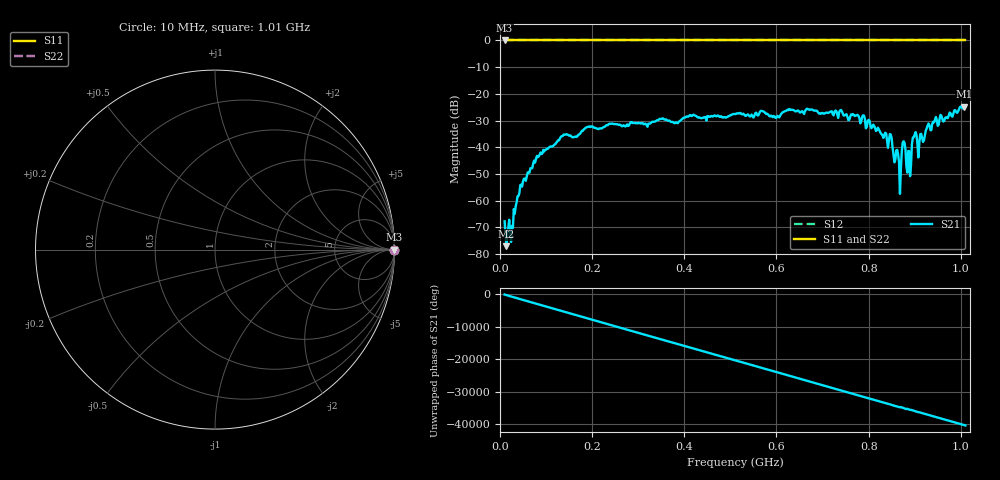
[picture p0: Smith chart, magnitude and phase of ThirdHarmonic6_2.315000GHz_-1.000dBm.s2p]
! 8/17/2025 3:14:41 AM
! C:\ANRITSUVNA\TEMP\TEMP.S2P
! CHANNEL.1
! TR.MEASUREMENT
! RAW.DATA
! RF.CORRECTION.OFF
! AVERAGING.OFF
! IF.BANDWIDTH: 5KHZ
! SWEEPTYPE:  FREQ.SWEEP(Linear)
! Reference Plane Port Info
! PORT:  PORT1  PORT2
! DISTANCE:  0  m  0  m
! TIME:  0  s  0  s
! PHASE.OFFSET:  0  deg.  0  deg.
! LOSS:  0  dB  0  dB
! REF.LOSS:  0  dB  0  dB
! REF.FREQ:  0  Hz  0  Hz
! Power Info
! POWER:  -20  dBm  -20  dBm
! EFF.POWER:  -20  dBm  -20  dBm
! SOURCE.ATTEN:  0  dB  0  dB
! TEST.ATTEN:  0  dB  0  dB
# GHZ S RI R 50.0
! FREQ.GHZ  S11RE  S11IM  S21RE  S21IM  S12RE  S12IM  S22RE  S22IM
!; PortSelection: Port_12
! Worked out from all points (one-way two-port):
!   501 points, 10 MHz to 1.01 GHz, reference 50 ohm
!   highest |S21| = -24.73 dB at 1.008 GHz (marker M1); lowest = -77.0 dB at 14 MHz (marker M2)
!   lowest |S11| = 0.0 dB at 10 MHz (marker M3)
!   |S11| at or under -10 dB: nowhere
!   |S22| runs from 0.0 to 0.0 dB; largest |S21 - S12| = 1.1
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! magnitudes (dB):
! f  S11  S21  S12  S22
! 10 MHz  0.0  -67.7  0.0  0.0
! 14 MHz  0.0  -77.0  0.0  0.0
! 26 MHz  0.0  -69.4  0.0  0.0
! 34 MHz  0.0  -62.2  0.0  0.0
! 48 MHz  0.0  -54.7  0.0  0.0
! 84 MHz  0.0  -43.4  0.0  0.0
! 136 MHz  0.0  -35.8  0.0  0.0
! 178 MHz  0.0  -33.8  0.0  0.0
! 344 MHz  0.0  -29.8  0.0  0.0
! 510 MHz  0.0  -27.6  0.0  0.0
! 678 MHz  0.0  -25.9  0.0  0.0
! 788 MHz  0.0  -28.0  0.0  0.0
! 844 MHz  0.0  -37.6  0.0  0.0
! 866 MHz  0.0  -45.6  0.0  0.0
! 870 MHz  0.0  -48.0  0.0  0.0
! 876 MHz  0.0  -37.8  0.0  0.0
! 888 MHz  0.0  -41.4  0.0  0.0
! 900 MHz  0.0  -35.2  0.0  0.0
! 910 MHz  0.0  -38.2  0.0  0.0
! 944 MHz  0.0  -29.8  0.0  0.0
! 1.008 GHz  0.0  -24.7  0.0  0.0
! 1.01 GHz  0.0  -24.8  0.0  0.0
